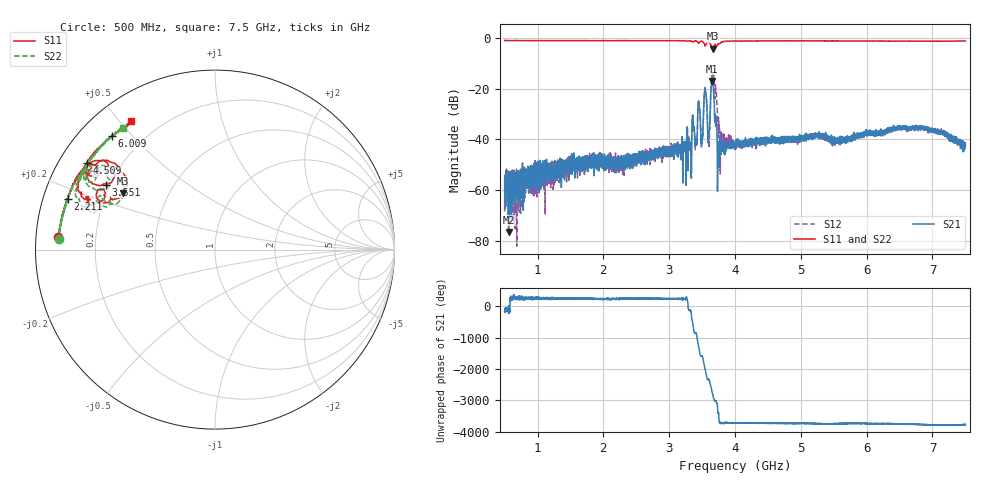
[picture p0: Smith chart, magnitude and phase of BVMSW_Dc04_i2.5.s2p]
!Keysight Technologies,M9374A,MY55442783,A.12.55.05
!Date: Thursday, May 20, 2021 18:04:26
!Correction: S11(Full 2 Port(1,2))
!S21(Full 2 Port(1,2))
!S12(Full 2 Port(1,2))
!S22(Full 2 Port(1,2))
!S2P File: Measurements: S11, S21, S12, S22:
# Hz S  RI  R 50
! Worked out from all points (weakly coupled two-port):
!   7001 points, 500 MHz to 7.5 GHz, reference 50 ohm
!   highest |S21| = -17.01 dB at 3.656 GHz (marker M1); lowest = -76.3 dB at 561 MHz (marker M2)
!   lowest |S11| = -4.4 dB at 3.66 GHz (marker M3), VSWR 4.02, Z = 13.4 + j13.1 ohm
!   |S11| at or under -10 dB: nowhere
!   |S22| runs from -4.6 to -1.1 dB; largest |S21 - S12| = 0.13
!   S11 on the Smith chart (normalised r, x): 500 MHz: 0.07, +0.04; 2.211 GHz: 0.07, +0.16; 3.551 GHz: 0.18, +0.27; 4.509 GHz: 0.08, +0.30; 6.009 GHz: 0.09, +0.44; 7.5 GHz: 0.10, +0.54
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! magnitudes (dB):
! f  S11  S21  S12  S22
! 500 MHz  -1.2  -55.7  -68.3  -1.2
! 561 MHz  -1.2  -76.3  -53.5  -1.2
! 1.667 GHz  -1.2  -48.3  -47.4  -1.2
! 2.211 GHz  -1.2  -49.7  -47.4  -1.2
! 2.834 GHz  -1.2  -44.9  -44.7  -1.2
! 3.311 GHz  -1.3  -42.1  -42.8  -1.3
! 3.447 GHz  -2.2  -25.3  -24.9  -2.2
! 3.497 GHz  -1.4  -39.5  -40.8  -1.5
! 3.551 GHz  -3.0  -20.8  -20.4  -3.0
! 3.602 GHz  -1.8  -38.0  -41.3  -1.8
! 3.656 GHz  -4.4  -17.0  -14.6  -4.5
! 3.66 GHz  -4.4  -17.6  -14.2  -4.6
! 3.694 GHz  -2.7  -32.4  -21.0  -2.8
! 3.722 GHz  -3.2  -33.5  -24.4  -3.4
! 3.759 GHz  -2.2  -42.6  -37.0  -2.4
! 4 GHz  -1.3  -44.0  -40.9  -1.4
! 4.509 GHz  -1.3  -40.4  -40.8  -1.3
! 5.167 GHz  -1.3  -40.1  -38.2  -1.3
! 6.009 GHz  -1.4  -37.0  -37.3  -1.3
! 6.334 GHz  -1.4  -36.1  -37.2  -1.3
! 6.909 GHz  -1.5  -35.8  -35.8  -1.4
! 7.5 GHz  -1.4  -41.5  -42.7  -1.4
